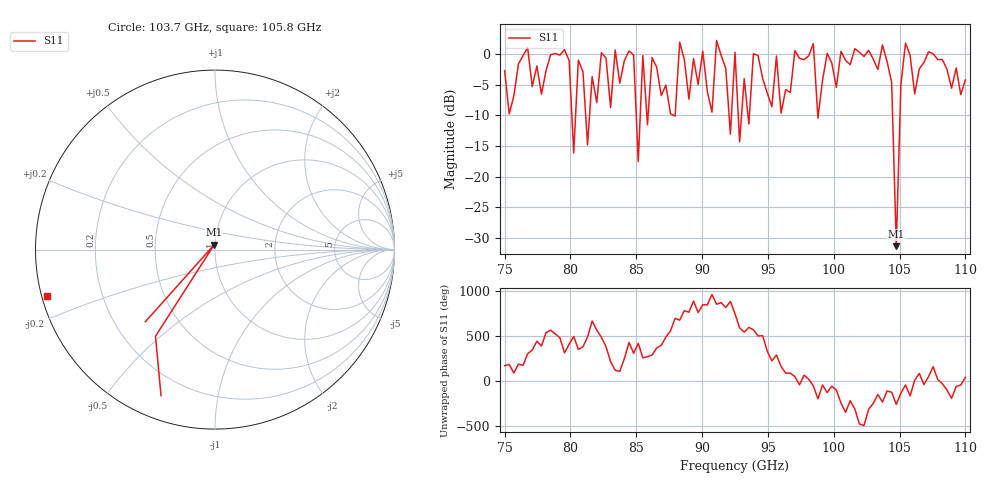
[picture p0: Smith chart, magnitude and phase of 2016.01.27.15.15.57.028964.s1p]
!Created with skrf (http://scikit-rf.org).
# GHz S RI R 50.0
!freq ReS11 ImS11
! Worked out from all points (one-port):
!   101 points, 75 GHz to 110 GHz, reference 50 ohm
!   lowest |S11| = -31.3 dB at 104.8 GHz (marker M1), VSWR 1.06, Z = 49.4 + j2.63 ohm
!   |S11| at or under -10 dB: 80.10705 GHz to 80.39223 GHz (285.2 MHz wide, 0.355 % of centre); 81.15844 GHz to 81.45195 GHz (293.5 MHz wide, 0.361 % of centre); 84.99786 GHz to 85.30318 GHz (305.3 MHz wide, 0.359 % of centre) (the widest 3 of 10)
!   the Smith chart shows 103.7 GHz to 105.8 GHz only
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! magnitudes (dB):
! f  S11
! 75 GHz  -2.7
! 79.55 GHz  0.7
! 80.25 GHz  -16.1
! 80.6 GHz  -1.0
! 81.3 GHz  -14.8
! 82.35 GHz  0.2
! 83.75 GHz  -4.8
! 84.8 GHz  -0.2
! 85.15 GHz  -17.6
! 85.5 GHz  -0.3
! 87.95 GHz  -10.1
! 88.3 GHz  1.9
! 90.75 GHz  -9.5
! 91.1 GHz  2.2
! 92.15 GHz  -13.1
! 92.5 GHz  0.2
! 92.85 GHz  -14.3
! 93.9 GHz  0.0
! 96 GHz  -9.7
! 97.05 GHz  0.5
! 98.8 GHz  -10.5
! 101.2 GHz  -1.8
! 104 GHz  -1.2
! 104.4 GHz  -4.7
! 104.8 GHz  -31.3
! 105.1 GHz  -5.1
! 105.8 GHz  -0.2
! 110 GHz  -4.2
